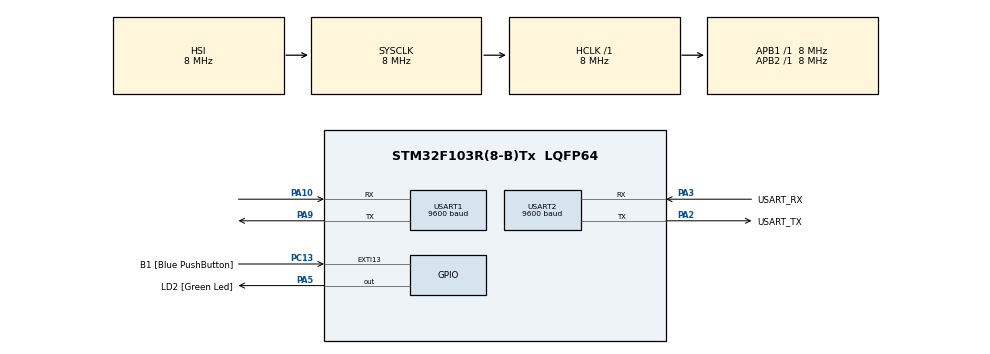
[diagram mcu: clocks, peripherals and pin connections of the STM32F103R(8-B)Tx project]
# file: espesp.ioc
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Mcu.Family=STM32F1
Mcu.Name=STM32F103R(8-B)Tx
Mcu.Package=LQFP64
NVIC.EXTI15_10_IRQn=true\:0\:0\:false\:false\:true\:true\:true\:true
NVIC.PriorityGroup=NVIC_PRIORITYGROUP_4
NVIC.USART1_IRQn=true\:0\:0\:true\:false\:true\:true\:true\:true
NVIC.USART2_IRQn=true\:0\:0\:false\:false\:true\:true\:true\:true
PA10.Mode=Asynchronous
PA10.Signal=USART1_RX
PA13.GPIO_Label=TMS
PA13.Mode=Serial_Wire
PA13.Signal=SYS_JTMS-SWDIO
PA14.GPIO_Label=TCK
PA14.Mode=Serial_Wire
PA14.Signal=SYS_JTCK-SWCLK
PA2.GPIO_Label=USART_TX
PA2.GPIO_Mode=GPIO_MODE_AF_PP
PA2.GPIO_PuPd=GPIO_NOPULL
PA2.GPIO_Speed=GPIO_SPEED_FREQ_LOW
PA2.Mode=Asynchronous
PA2.Signal=USART2_TX
PA3.GPIO_Label=USART_RX
PA3.GPIO_Mode=GPIO_MODE_AF_PP
PA3.GPIO_PuPd=GPIO_NOPULL
PA3.GPIO_Speed=GPIO_SPEED_FREQ_LOW
PA3.Mode=Asynchronous
PA3.Signal=USART2_RX
PA5.GPIO_Label=LD2 [Green Led]
PA5.GPIO_ModeDefaultOutputPP=GPIO_MODE_OUTPUT_PP
PA5.GPIO_PuPd=GPIO_NOPULL
PA5.GPIO_Speed=GPIO_SPEED_FREQ_LOW
PA5.Signal=GPIO_Output
PA9.Mode=Asynchronous
PA9.Signal=USART1_TX
PB3.GPIO_Label=SWO
PB3.Signal=SYS_JTDO-TRACESWO
PC13-TAMPER-RTC.GPIO_Label=B1 [Blue PushButton]
PC13-TAMPER-RTC.GPIO_PuPd=GPIO_NOPULL
PC13-TAMPER-RTC.Signal=GPXTI13
PC14-OSC32_IN.Mode=LSE-External-Oscillator
PC14-OSC32_IN.Signal=RCC_OSC32_IN
PC15-OSC32_OUT.Mode=LSE-External-Oscillator
PC15-OSC32_OUT.Signal=RCC_OSC32_OUT
PD0-OSC_IN.Mode=HSE-External-Clock-Source
PD0-OSC_IN.Signal=RCC_OSC_IN
PD1-OSC_OUT.Mode=HSE-External-Clock-Source
PD1-OSC_OUT.Signal=RCC_OSC_OUT
ProjectManager.HeapSize=0x200
ProjectManager.StackSize=0x400
ProjectManager.TargetToolchain=STM32CubeIDE
RCC.AHBFreq_Value=8000000
RCC.APB1Freq_Value=8000000
RCC.APB1TimFreq_Value=8000000
RCC.APB2Freq_Value=8000000
RCC.APB2TimFreq_Value=8000000
RCC.HCLKFreq_Value=8000000
RCC.PLLMUL=RCC_PLL_MUL16
RCC.RTCClockSelection=RCC_RTCCLKSOURCE_LSE
RCC.SYSCLKFreq_VALUE=8000000
RCC.USBFreq_Value=64000000
USART1.BaudRate=9600
USART1.VirtualMode=VM_ASYNC
USART2.BaudRate=9600
USART2.VirtualMode=VM_ASYNC
board=NUCLEO-F103RB

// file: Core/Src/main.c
/* USER CODE BEGIN Header */
/**
  ******************************************************************************
  * @file           : main.c
  * @brief          : Main program body
  ******************************************************************************
  * @attention
  *
  * Copyright (c) 2024 STMicroelectronics.
  * All rights reserved.
  *
  * This software is licensed under terms that can be found in the LICENSE file
  * in the root directory of this software component.
  * If no LICENSE file comes with this software, it is provided AS-IS.
  *
  ******************************************************************************
  */
/* USER CODE END Header */
#include "main.h"
#include "usart.h"
#include "gpio.h"

/* USER CODE BEGIN Includes */
#include<stdio.h>
#include<string.h>

/* USER CODE END Includes */

void SystemClock_Config(void);
/* USER CODE BEGIN PFP */
int _write(int fd, char *ptr, int len)
{
	HAL_UART_Transmit(&huart2, (unsigned char*)ptr, len, HAL_MAX_DELAY);
	return len;
}

int _read(int file, char *ptr, int len)
{
	HAL_UART_Receive(&huart2, (unsigned char*)ptr, len, HAL_MAX_DELAY);
	return len;
}

int __io_putchar(int ch)
{
	HAL_UART_Transmit(&huart2, (unsigned char*)&ch, 1, HAL_MAX_DELAY);
	return ch;
}

int __io_getchar(void)
{
	uint8_t ch = 0;
	HAL_UART_Receive(&huart2, (uint8_t *)&ch, 1, HAL_MAX_DELAY);
	return ch;
}

/* USER CODE END PFP */

/* USER CODE BEGIN 0 */

#define UART_RX_BUFFER_SIZE 1024
#define true 1
#define false 0

uint8_t BBOX[1024] = {0, };
uint8_t buff;
volatile uint8_t BBOX_count = 0;

uint8_t Rx_buffer[1024];
uint16_t Rx_Head = 0;
uint16_t Rx_Tail = 0;

void WriteBuffer(uint8_t buff){
	Rx_buffer[Rx_Head] = buff;
	Rx_Head = (Rx_Head + 1) % UART_RX_BUFFER_SIZE;
	if(Rx_Head == Rx_Tail)
		Rx_Tail = (Rx_Tail + 1) % UART_RX_BUFFER_SIZE;
}

uint8_t ReadBuffer(){
	if(Rx_Tail == Rx_Head)
		return 0;
	uint8_t data = Rx_buffer[Rx_Tail];
	Rx_Tail = (Rx_Tail + 1) % UART_RX_BUFFER_SIZE;
	return data;
}

//void HAL_UART_RxCpltCallback(UART_HandleTypeDef *huart) {
//	if(huart->Instance == USART1) {
//		BBOX[BBOX_count++] = buff;
//		if(buff == '\0'){
//			HAL_UART_Transmit_IT(&huart2, BBOX, strlen(BBOX));
//			memset(BBOX, 0 , sizeof(BBOX));
//			BBOX_count = 0;
//		}
//		HAL_UART_Receive_IT(&huart1, &buff, 1);
////		HAL_UART_Receive_IT(huart, GBOX.buffer[GBOX.input_p++], 1);
//
//	}
//
////	else if(huart->Instance == USART2) {
////		HAL_UART_Receive_IT(huart, &sendGarbage, 1);
////	}
//}

uint8_t Send_sign[] = "send fail\r\n";
uint8_t Success_sign[] = "success\r\n";
uint8_t Error_sign[] = "error\r\n";
uint8_t None_sign[] = "none\r\n";

uint8_t AT_COMMAND(uint8_t *cmd, uint8_t repeat, uint16_t timeout){

	while(repeat > 0){
		memset(BBOX, 0, sizeof(BBOX));
		BBOX_count = 0;
		if(HAL_UART_Transmit(&huart1, cmd, strlen((char *)cmd), 100) == HAL_OK) {
			break;
		}
		repeat--;
	}
	if(repeat == 0){
		//HAL_UART_Transmit(&huart2, Send_sign, strlen((char *)Send_sign), 100);
		//printf("send fail\r\n");
		return false;
	}
	while(timeout > 0){

		if (strstr((char *)BBOX, "OK") != 0){
			//HAL_UART_Transmit(&huart2, Success_sign, strlen((char *)Success_sign), 100);
			//printf("\r\nOK\r\n");
			return true;
		}
		// ERROR -> FAIL
		else if (strstr((char *)BBOX, "FAIL") != 0){
			//HAL_UART_Transmit(&huart2, Error_sign, strlen((char *)Error_sign), 100);
			//printf("\r\nError\r\n");
			return false;
		}

		timeout -= 10;
		HAL_Delay(10);
	}
	//printf("\r\nNone\r\n");

	//HAL_UART_Transmit(&huart2, None_sign, strlen((char *)None_sign), 100);
	//HAL_UART_Transmit(&huart2, BBOX, strlen((char *)BBOX), 100);

	return false;

}

//uint8_t print(UART_HandleTypeDef *huart, uint8_t* data, uint16_t time) {
//	HAL_UART_Transmit(huart, Send_sign, strlen((char *)Send_sign), 100);
//}

// -------------------------- AT command Funtion START ----------------------------------------

// AT
uint8_t SendAT() {
	uint8_t res = AT_COMMAND((uint8_t *)"AT\r\n", 10, 1000);
	if(res)
		return false;
	return true;
}

// AT+RST
uint8_t EspReset() {
	uint8_t res = AT_COMMAND((uint8_t *)"AT+RST\r\n", 10, 10000);
	if(res)
		return false;
	return true;
}

// AT CWJAP
uint8_t WifiAccess() {
	//uint8_t res = AT_COMMAND((uint8_t *)"AT+CWLAP\r\n" , 10, 1000);
	uint8_t res = AT_COMMAND((uint8_t *)"AT+CWJAP=\"801em1\",\"ssafy1357\"\r\n" , 10, 1000);
//	uint8_t res = AT_COMMAND((uint8_t *)"AT+CWJAP=\"vnqzl\",\"104vnqzl\"" , 10, 1000);
	if(res)
		return false;
	return true;
}

uint8_t ConnectTcp(uint8_t is_MUX, uint8_t target) {
	uint8_t res = 0U;

	// AT_COMMAND((uint8_t *)"AT\r\n", 10, 1000);

	if(is_MUX) { // multi
		if(target == 0) { // rasp
			res = AT_COMMAND((uint8_t *)"AT+CIPSTART=0,\"TCP\",\"192.168.0.41\",12345\r\n", 10, 1000);
		}
		else { // AWS
			res = AT_COMMAND((uint8_t *)"AT+CIPSTART=1,\"TCP\",\"0.0.0.0\",0\r\n", 10, 1000);
		}
	}
	else { // single
		res = AT_COMMAND((uint8_t *)"AT+CIPSTART=0,\"TCP\",\"192.168.0.41\",12345\r\n", 10, 1000);
	}

	if(res)
		return false;
	return true;
}

// Rasp Send data size & data // target => 0 is rasp // 1 is AWS    // data is real data
uint8_t SendData(uint8_t size, uint8_t is_MUX, uint8_t target, uint8_t * data) {
	uint8_t str[128] = {0, };
	uint8_t res = 0U;
	uint8_t res1 = 0U;

	if(is_MUX == 0) {
		sprintf((char *)str, "AT+CIPSEND=%u\r\n", size);

		res = AT_COMMAND(str, 10, 1000);

		res1 = AT_COMMAND(data, 10, 1000);
	}
	else {
		sprintf((char *)str, "AT+CIPSEND=%u,%u\r\n", target, size);

		res = AT_COMMAND(str, 10, 1000);

		res1 = AT_COMMAND(data, 10, 1000);
	}

	if(res || res1)
		return false;
	return true;
}

// MUX mode
uint8_t SetMux(uint8_t flag) {
	uint8_t res = 0U;

	if(flag) { // MUX
		res = AT_COMMAND((uint8_t *)"AT+MUX=1\r\n", 10, 1000);
	}
	else {
		res = AT_COMMAND((uint8_t *)"AT+MUX=0\r\n", 10, 1000);
	}
	if(res)
		return false;
	return true;
}

uint8_t RaspiTCPSocketAccess() {
	uint8_t res = AT_COMMAND((uint8_t *)"AT+CIPSTART=\"TCP\",\"192.168.0.41\",12345\r\n" , 10, 1000);
	if(res)
		return false;
	return true;
}

// -------------------------- AT command Function END ----------------------------------------

// un used Function
//uint8_t SendData(uint16_t len, uint8_t data[]) {
//	uint8_t msg[1024] = {0, };
//
//	// data length when push
//	sprintf(msg,"AT+CIPSEND=%u", len);
//
//
//	// len
//	if(HAL_UART_Trasmit(&huart1, msg, strlen((char *)msg)) != HAL_OK) {
//		return 1;
//	}
//
//	HAL_Delay(10);
//
//
//
//	BBOX[BBOX_count + 1] = '\0';
//	if(strstr(BBOX, "OK") == 0) {
//		return 1;
//	}
//	else{
//		HAL_UART_Transmit(&huart2, BBOX, strlen((char *)BBOX), 1000);
//
//		memset(BBOX, 0, sizeof(BBOX));
//		BBOX_count = 0;
//	}
//
//
//
//
//
//	// Data
//	if(HAL_UART_Trasmit(&huart1, data, strlen((char *)data)) != HAL_OK) {
//		return 1;
//	}
//
//	HAL_Delay(10);
//
//
//
//	BBOX[BBOX_count + 1] = '\0';
//	if(strstr(BBOX, "OK") == 0) {
//		return 1;
//	}
//	else{
//		HAL_UART_Transmit(&huart2, BBOX, strlen((char *)BBOX), 1000);
//
//		memset(BBOX, 0, sizeof(BBOX));
//		BBOX_count = 0;
//	}
//
//
//	return 0;
//}

void HAL_UART_RxCpltCallback(UART_HandleTypeDef *huart) {
	if(huart->Instance == USART1) {
		// !!!- DO not printf Here -!!!
		BBOX[BBOX_count++] = buff;
		WriteBuffer(buff);
		HAL_UART_Receive_IT(huart, &buff, 1);
	}

}
/* USER CODE END 0 */

int main(void)
{
  /* USER CODE BEGIN 1 */
	setvbuf(stdin, NULL, _IONBF, 0);
	setvbuf(stdout, NULL, _IONBF, 0);

  /* USER CODE END 1 */

  /* MCU Configuration--------------------------------------------------------*/

  /* Reset of all peripherals, Initializes the Flash interface and the Systick. */
  HAL_Init();

  /* Configure the system clock */
  SystemClock_Config();

  /* Initialize all configured peripherals */
  MX_GPIO_Init();
  MX_USART2_UART_Init();
  MX_USART1_UART_Init();
  /* USER CODE BEGIN 2 */

  // test Is non call  OK?
  //  HAL_UART_RxCpltCallback(&huart1);

  //uint8_t startText[] = "HI\r\n";
  //HAL_UART_Transmit(&huart2, startText, strlen((char *)startText), 100);

  /* USER CODE END 2 */

  /* Infinite loop */
  /* USER CODE BEGIN WHILE */
//  uint8_t send_AT[] = "AT\r\n";
//  HAL_UART_Transmit(&huart1, send_AT, strlen((char *)send_AT), 1000);

  // Wait for Interrupt
  HAL_UART_Receive_IT(&huart1, &buff, 1);

//  HAL_Delay(100);
//
  //EspReset();
//
//
//  HAL_Delay(100);
//
//  SetMux(0);
////
////  HAL_Delay(100);
////
////  EspReset();
//
//
//  HAL_Delay(100);
//
//  SendAT();
//
//  HAL_Delay(100);

  WifiAccess();

  HAL_Delay(5000);

  RaspiTCPSocketAccess();

  HAL_Delay(100);

  // SendData(uint8_t size, uint8_t is_MUX, uint8_t target, uint8_t * data)

  SendData(strlen((char *)"ABCDEFG\r\n"), 0, 0, (uint8_t *)"ABCDEFG\r\n");

  //ConnectTcp(0, 0, (uint8_t *)"192.168.0.41", (uint8_t)12345);
//  RaspiTCPSocketAccess();
//  HAL_Delay(100);
//  HAL_UART_Transmit(&huart1, send_AT, strlen((char *)send_AT), 100);
//  HAL_Delay(100);

  while (1)
  {
    /* USER CODE END WHILE */

    /* USER CODE BEGIN 3 */

	  // change [1] ==> HAL_UART_Transmit -> HAL_UART_Transmit_IT

	  uint8_t data = ReadBuffer();
	  if(data != 0)
		  printf("%c", data);

//	  uint16_t len = strlen(BBOX);
//	  uint8_t len_str[15] = {0, };
//	  sprintf(len_str, "len=%u\r\n", len);
//	  HAL_UART_Transmit(&huart2, BBOX, len, 100);
//	  HAL_Delay(100);
//	  HAL_UART_Transmit(&huart2, len_str, strlen((char *)len_str), 100);
	  HAL_Delay(100);

  }
  /* USER CODE END 3 */
}

void SystemClock_Config(void)
{
  RCC_OscInitTypeDef RCC_OscInitStruct = {0};
  RCC_ClkInitTypeDef RCC_ClkInitStruct = {0};

  /** Initializes the RCC Oscillators according to the specified parameters
  * in the RCC_OscInitTypeDef structure.
  */
  RCC_OscInitStruct.OscillatorType = RCC_OSCILLATORTYPE_HSI;
  RCC_OscInitStruct.HSIState = RCC_HSI_ON;
  RCC_OscInitStruct.HSICalibrationValue = RCC_HSICALIBRATION_DEFAULT;
  RCC_OscInitStruct.PLL.PLLState = RCC_PLL_NONE;
  if (HAL_RCC_OscConfig(&RCC_OscInitStruct) != HAL_OK)
  {
    Error_Handler();
  }

  /** Initializes the CPU, AHB and APB buses clocks
  */
  RCC_ClkInitStruct.ClockType = RCC_CLOCKTYPE_HCLK|RCC_CLOCKTYPE_SYSCLK
                              |RCC_CLOCKTYPE_PCLK1|RCC_CLOCKTYPE_PCLK2;
  RCC_ClkInitStruct.SYSCLKSource = RCC_SYSCLKSOURCE_HSI;
  RCC_ClkInitStruct.AHBCLKDivider = RCC_SYSCLK_DIV1;
  RCC_ClkInitStruct.APB1CLKDivider = RCC_HCLK_DIV1;
  RCC_ClkInitStruct.APB2CLKDivider = RCC_HCLK_DIV1;

  if (HAL_RCC_ClockConfig(&RCC_ClkInitStruct, FLASH_LATENCY_0) != HAL_OK)
  {
    Error_Handler();
  }
}

void Error_Handler(void)
{
  __disable_irq();
  while (1)
  {
  }
}
